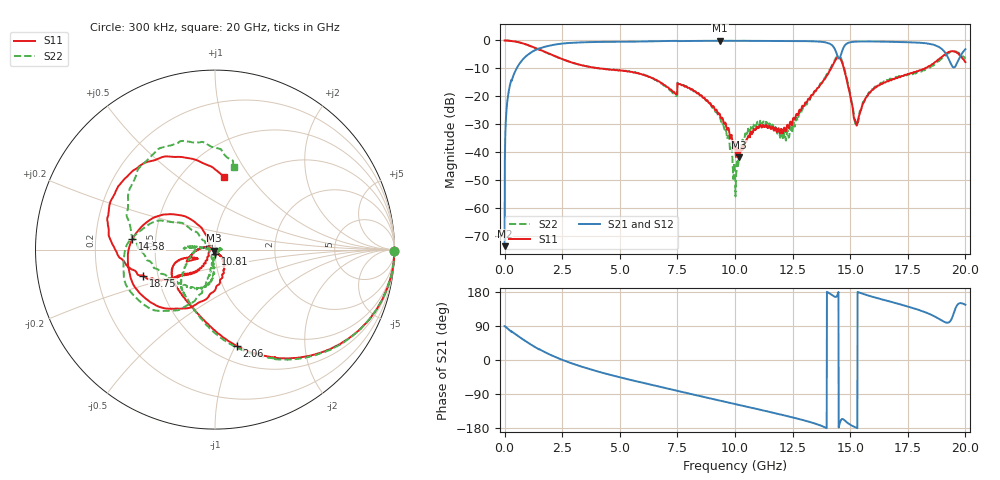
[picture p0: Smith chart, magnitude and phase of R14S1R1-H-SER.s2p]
!{R14S1R1}
!Johanson Technology Inc.
!www.johansontechnology.com
!Test Board Conditions:
!Substrate Type  RO4350B
!Substrate Thickness  20 mil
!Substrate Dk  3.66
!TL Type: GCPW
!TL Trace Width  36 mil
!TL Gap  12 mil
!Electrode orientation  Horizontal
!DUT TOPOLOGY	SERIES
!Mounting Pad LxW  26x36 mil
! Created Wed Nov 25 17:33:21 2020
! 2 Port Network Data from SP1.SP block
! freq  magS11  angS11  magS21  angS21  magS12  angS12  magS22  angS22
# khz S ma R 50
! decimated to every 10th point (10 MHz spacing) of the original 1 MHz Johanson file; values unchanged
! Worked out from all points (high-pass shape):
!   2001 points, 300 kHz to 20 GHz, reference 50 ohm
!   highest |S21| = -0.12 dB at 9.35 GHz (marker M1); lowest = -73.7 dB at 300 kHz (marker M2)
!   |S21| within 3 dB of the highest: 1.416 GHz to 14.33 GHz (12.92 GHz wide, 164 % of centre); 14.68 GHz to 18.99 GHz (4.305 GHz wide, 25.6 % of centre)
!   lowest |S11| = -41.8 dB at 10.18 GHz (marker M3), VSWR 1.02, Z = 49.5 - j0.628 ohm
!   |S11| at or under -10 dB: 4.111 GHz to 14.17 GHz (10.06 GHz wide, 110 % of centre); 14.73 GHz to 18.24 GHz (3.514 GHz wide, 21.3 % of centre)
!   |S22| runs from -55.8 to 0.0 dB; largest |S21 - S12| = 0.014
!   S11 on the Smith chart (normalised r, x): 300 kHz: open; 2.06 GHz: 0.66, -1.01; 10.81 GHz: 1.00, -0.05; 14.58 GHz: 0.37, +0.05; 18.75 GHz: 0.41, -0.15; 20 GHz: 0.78, +0.76
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300  0.9968 -0.4  0.0002076 89.2  0.0002318 83.9  0.9983 -0.3
120300  0.9962 -6.0  0.08299 83.7  0.08318 83.6  0.996 -6.1
310300  0.979 -14.2  0.1925 75.2  0.1934 75.2  0.9793 -14.3
1070300  0.8095 -46.0  0.5804 43.5  0.5794 43.4  0.81 -46.6
2060300  0.5504 -77.2  0.8275 11.7  0.8279 11.7  0.5471 -78.9
3340300  0.3605 -107.3  0.924 -17.5  0.9249 -17.5  0.3594 -107.7
6670300  0.1868 -164.1  0.971 -69.6  0.9718 -69.6  0.1837 -152.6
8210300  0.1241 -170.5  0.9797 -91.5  0.9797 -91.4  0.1243 173.0
9350300  0.04587 165.8  0.9864 -107.3  0.9857 -107.4  0.0428 169.6
1.00003e7  0.01298 -179.6  0.9847 -116.3  0.9861 -116.3  0.004202 126.7
1.01803e7  0.008088 -128.4  0.9846 -118.8  0.9845 -118.8  0.009586 11.4
1.08103e7  0.02525 -87.0  0.9841 -127.4  0.9821 -127.4  0.03041 2.6
1.22703e7  0.03097 -57.5  0.9796 -148.2  0.9793 -148.1  0.02476 -59.2
1.33403e7  0.106 -61.7  0.9653 -165.2  0.9683 -165.3  0.1057 -99.6
1.42903e7  0.3918 -123.1  0.7522 168.3  0.7581 168.1  0.4142 -124.7
1.45803e7  0.4635 172.9  0.5255 -161.2  0.5246 -161.4  0.4974 178.9
1.52703e7  0.03027 -174.4  0.9524 -178.9  0.9548 -179.0  0.03429 -153.6
1.57503e7  0.102 -128.2  0.958 170.8  0.9612 170.8  0.1024 -92.5
1.66703e7  0.1863 -136.1  0.9491 155.1  0.9442 155.1  0.195 -100.9
1.87503e7  0.4243 -160.1  0.8008 112.1  0.8012 112.1  0.3936 -175.6
1.93503e7  0.6386 156.8  0.3983 103.2  0.4055 103.7  0.6214 132.7
2e7  0.4088 83.2  0.6978 145.8  0.694 146.4  0.4718 77.1
